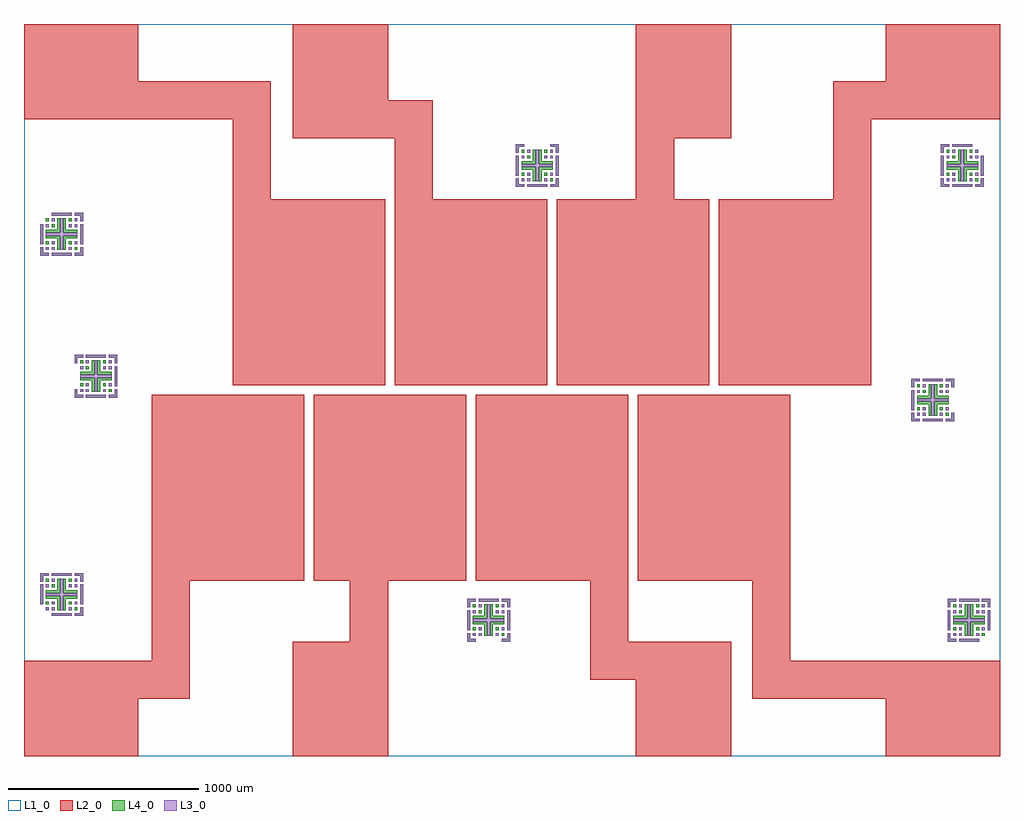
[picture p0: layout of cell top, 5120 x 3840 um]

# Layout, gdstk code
from math import pi, radians
import gdstk
lib = gdstk.Library(unit=1e-6, precision=5e-06)
def R(c, l, rs):  # rectangles x0, y0, x1, y1
    for r in rs: c.add(gdstk.rectangle(r[:2], r[2:], *l))
def P(c, l, *ps):  # polygons
    for p in ps: c.add(gdstk.Polygon(p, *l))
L1_0 = (1, 0)
L2_0 = (2, 0)
L3_0 = (3, 0)
L4_0 = (4, 0)

align1 = lib.new_cell('align1')

align1_1 = lib.new_cell('align1_1')
r = gdstk.Reference(align1, (-70,0), rotation=pi/2); r.repetition = gdstk.Repetition(1, 1, v1=(0,0), v2=(0,0)); align1_1.add(r)
r = gdstk.Reference(align1, (0,-70), rotation=pi); r.repetition = gdstk.Repetition(1, 1, v1=(0,0), v2=(0,0)); align1_1.add(r)
r = gdstk.Reference(align1, (70,0), rotation=3*pi/2); r.repetition = gdstk.Repetition(1, 1, v1=(0,0), v2=(0,0)); align1_1.add(r)
r = gdstk.Reference(align1, (0,70)); r.repetition = gdstk.Repetition(1, 1, v1=(0,0), v2=(0,0)); align1_1.add(r)

align2 = lib.new_cell('align2')

align3 = lib.new_cell('align3')
r = gdstk.Reference(align1_1, (0,0), rotation=3*pi/2); r.repetition = gdstk.Repetition(1, 1, v1=(0,0), v2=(0,0)); align3.add(r)
r = gdstk.Reference(align2, (0,70)); r.repetition = gdstk.Repetition(1, 1, v1=(0,0), v2=(0,0)); align3.add(r)
r = gdstk.Reference(align2, (-70,0), rotation=pi/2); r.repetition = gdstk.Repetition(1, 1, v1=(0,0), v2=(0,0)); align3.add(r)
r = gdstk.Reference(align2, (0,-70), rotation=pi); r.repetition = gdstk.Repetition(1, 1, v1=(0,0), v2=(0,0)); align3.add(r)
r = gdstk.Reference(align2, (70,0), rotation=3*pi/2); r.repetition = gdstk.Repetition(1, 1, v1=(0,0), v2=(0,0)); align3.add(r)

landing_pad = lib.new_cell('landing_pad')

contact = lib.new_cell('contact')

alignment5nm = lib.new_cell('Alignment5nm')
R(alignment5nm, L3_0, [(-70,-50,35,-35), (-100,-20,-85,-5), (-70,-20,-55,-5), (20,-20,35,-5), (-130,10,-115,115), (-70,10,-55,25), (50,10,65,25), (80,10,95,115), (-100,100,-85,115), (20,100,35,115), (50,100,65,115), (-70,130,-55,145), (50,130,65,145), (-70,160,35,175)])
P(alignment5nm, L3_0, [(50,-50),(50,-35),(80,-35),(80,-5),(95,-5),(95,-50)],
  [(80,130),(80,160),(50,160),(50,175),(95,175),(95,130)],
  [(-130,130),(-130,175),(-85,175),(-85,160),(-115,160),(-115,130)],
  [(-25,-20),(-25,55),(-100,55),(-100,70),(-25,70),(-25,145),(-10,145),(-10,70),(65,70),(65,55),(-10,55),(-10,-20)])
R(alignment5nm, L4_0, [(-70,-50,35,-35), (-100,-20,-85,-5), (50,-20,65,-5), (-130,10,-115,115), (-100,10,-85,25), (-70,10,-55,25), (20,10,35,25), (80,10,95,115), (-70,100,-55,115), (20,100,35,115), (-100,130,-85,145), (20,130,35,145), (50,130,65,145), (-70,160,35,175)])
P(alignment5nm, L4_0, [(50,-50),(50,-35),(80,-35),(80,-5),(95,-5),(95,-50)],
  [(80,130),(80,160),(50,160),(50,175),(95,175),(95,130)],
  [(-130,130),(-130,175),(-85,175),(-85,160),(-115,160),(-115,130)],
  [(-40,-20),(-40,40),(-100,40),(-100,55),(-25,55),(-25,-20)],
  [(-10,-20),(-10,55),(65,55),(65,40),(5,40),(5,-20)],
  [(-100,70),(-100,85),(-40,85),(-40,145),(-25,145),(-25,70)],
  [(-10,70),(-10,145),(5,145),(5,85),(65,85),(65,70)])

top = lib.new_cell('top')
R(top, L1_0, [(0,0,5120,3840)])
P(top, L2_0, [(0,0),(0,500),(670,500),(670,1895),(1470,1895),(1470,920),(870,920),(870,300),(600,300),(600,0)],
  [(1095,1945),(1095,3340),(0,3340),(0,3840),(600,3840),(600,3540),(1295,3540),(1295,2920),(1895,2920),(1895,1945)],
  [(1410,0),(1410,600),(1710,600),(1710,920),(1520,920),(1520,1895),(2320,1895),(2320,920),(1910,920),(1910,0)],
  [(1945,1945),(1945,3240),(1410,3240),(1410,3840),(1910,3840),(1910,3440),(2145,3440),(2145,2920),(2745,2920),(2745,1945)],
  [(3210,0),(3210,400),(2970,400),(2970,920),(2370,920),(2370,1895),(3170,1895),(3170,600),(3710,600),(3710,0)],
  [(2795,1945),(2795,2920),(3210,2920),(3210,3840),(3710,3840),(3710,3240),(3410,3240),(3410,2920),(3595,2920),(3595,1945)],
  [(3645,1945),(3645,2920),(4245,2920),(4245,3540),(4520,3540),(4520,3840),(5120,3840),(5120,3340),(4445,3340),(4445,1945)],
  [(4520,0),(4520,300),(3820,300),(3820,920),(3220,920),(3220,1895),(4020,1895),(4020,500),(5120,500),(5120,0)])
R(top, L3_0, [(4905,600,5010,615), (2355,630,2370,645), (2385,630,2400,645), (2475,630,2490,645), (4875,630,4890,645), (4905,630,4920,645), (4995,630,5010,645), (2325,660,2340,765), (2385,660,2400,675), (2505,660,2520,675), (2535,660,2550,765), (4845,660,4860,765), (4905,660,4920,675), (5025,660,5040,675), (5055,660,5070,765), (2355,750,2370,765), (2475,750,2490,765), (2505,750,2520,765), (4875,750,4890,765), (4995,750,5010,765), (5025,750,5040,765), (2385,780,2400,795), (2505,780,2520,795), (4905,780,4920,795), (5025,780,5040,795), (2385,810,2490,825), (4905,810,5010,825), (4715,1755,4820,1770), (4685,1785,4700,1800), (4715,1785,4730,1800), (4805,1785,4820,1800), (4655,1815,4670,1920), (4715,1815,4730,1830), (4835,1815,4850,1830), (325,1880,430,1895), (4685,1905,4700,1920), (4805,1905,4820,1920), (4835,1905,4850,1920), (295,1910,310,1925), (325,1910,340,1925), (415,1910,430,1925), (4715,1935,4730,1950), (4835,1935,4850,1950), (325,1940,340,1955), (445,1940,460,1955), (475,1940,490,2045), (4715,1965,4820,1980), (295,2030,310,2045), (415,2030,430,2045), (445,2030,460,2045), (325,2060,340,2075), (445,2060,460,2075), (325,2090,430,2105), (145,2625,250,2640), (115,2655,130,2670), (145,2655,160,2670), (235,2655,250,2670), (85,2685,100,2790), (145,2685,160,2700), (265,2685,280,2700), (295,2685,310,2790), (115,2775,130,2790), (235,2775,250,2790), (265,2775,280,2790), (145,2805,160,2820), (265,2805,280,2820), (145,2835,250,2850), (2640,2985,2745,3000), (4870,2985,4975,3000), (2610,3015,2625,3030), (2640,3015,2655,3030), (2730,3015,2745,3030), (4840,3015,4855,3030), (4870,3015,4885,3030), (4960,3015,4975,3030), (2580,3045,2595,3150), (2640,3045,2655,3060), (2760,3045,2775,3060), (2790,3045,2805,3150), (4810,3045,4825,3150), (4870,3045,4885,3060), (4990,3045,5005,3060), (5020,3045,5035,3150), (2610,3135,2625,3150), (2730,3135,2745,3150), (2760,3135,2775,3150), (4840,3135,4855,3150), (4960,3135,4975,3150), (4990,3135,5005,3150), (2640,3165,2655,3180), (2760,3165,2775,3180), (4870,3165,4885,3180), (4990,3165,5005,3180), (4870,3195,4975,3210)])
P(top, L3_0, [(445,1880),(445,1895),(475,1895),(475,1925),(490,1925),(490,1880)],
  [(475,2060),(475,2090),(445,2090),(445,2105),(490,2105),(490,2060)],
  [(265,2060),(265,2105),(310,2105),(310,2090),(280,2090),(280,2060)],
  [(265,1880),(265,1925),(280,1925),(280,1895),(310,1895),(310,1880)],
  [(370,1910),(370,1985),(295,1985),(295,2000),(370,2000),(370,2075),(385,2075),(385,2000),(460,2000),(460,1985),(385,1985),(385,1910)],
  [(4835,1755),(4835,1770),(4865,1770),(4865,1800),(4880,1800),(4880,1755)],
  [(4865,1935),(4865,1965),(4835,1965),(4835,1980),(4880,1980),(4880,1935)],
  [(4655,1935),(4655,1980),(4700,1980),(4700,1965),(4670,1965),(4670,1935)],
  [(4655,1755),(4655,1800),(4670,1800),(4670,1770),(4700,1770),(4700,1755)],
  [(4760,1785),(4760,1860),(4685,1860),(4685,1875),(4760,1875),(4760,1950),(4775,1950),(4775,1875),(4850,1875),(4850,1860),(4775,1860),(4775,1785)],
  [(2760,2985),(2760,3000),(2790,3000),(2790,3030),(2805,3030),(2805,2985)],
  [(2790,3165),(2790,3195),(2760,3195),(2760,3210),(2805,3210),(2805,3165)],
  [(265,2625),(265,2640),(295,2640),(295,2670),(310,2670),(310,2625)],
  [(295,2805),(295,2835),(265,2835),(265,2850),(310,2850),(310,2805)],
  [(85,2625),(85,2670),(100,2670),(100,2640),(130,2640),(130,2625)],
  [(190,2655),(190,2730),(115,2730),(115,2745),(190,2745),(190,2820),(205,2820),(205,2745),(280,2745),(280,2730),(205,2730),(205,2655)],
  [(2580,3165),(2580,3210),(2625,3210),(2625,3195),(2595,3195),(2595,3165)],
  [(2580,2985),(2580,3030),(2595,3030),(2595,3000),(2625,3000),(2625,2985)],
  [(2685,3015),(2685,3090),(2610,3090),(2610,3105),(2685,3105),(2685,3180),(2700,3180),(2700,3105),(2775,3105),(2775,3090),(2700,3090),(2700,3015)],
  [(4990,2985),(4990,3000),(5020,3000),(5020,3030),(5035,3030),(5035,2985)],
  [(4810,3165),(4810,3210),(4855,3210),(4855,3195),(4825,3195),(4825,3165)],
  [(4810,2985),(4810,3030),(4825,3030),(4825,3000),(4855,3000),(4855,2985)],
  [(4915,3015),(4915,3090),(4840,3090),(4840,3105),(4915,3105),(4915,3180),(4930,3180),(4930,3105),(5005,3105),(5005,3090),(4930,3090),(4930,3015)],
  [(5055,780),(5055,810),(5025,810),(5025,825),(5070,825),(5070,780)],
  [(4845,780),(4845,825),(4890,825),(4890,810),(4860,810),(4860,780)],
  [(4845,600),(4845,645),(4860,645),(4860,615),(4890,615),(4890,600)],
  [(4950,630),(4950,705),(4875,705),(4875,720),(4950,720),(4950,795),(4965,795),(4965,720),(5040,720),(5040,705),(4965,705),(4965,630)],
  [(2505,600),(2505,615),(2535,615),(2535,645),(2550,645),(2550,600)],
  [(2535,780),(2535,810),(2505,810),(2505,825),(2550,825),(2550,780)],
  [(2325,780),(2325,825),(2370,825),(2370,810),(2340,810),(2340,780)],
  [(2325,600),(2325,645),(2340,645),(2340,615),(2370,615),(2370,600)],
  [(2430,630),(2430,705),(2355,705),(2355,720),(2430,720),(2430,795),(2445,795),(2445,720),(2520,720),(2520,705),(2445,705),(2445,630)])
R(top, L4_0, [(4905,600,5010,615), (2355,630,2370,645), (2505,630,2520,645), (4875,630,4890,645), (5025,630,5040,645), (2325,660,2340,765), (2355,660,2370,675), (2385,660,2400,675), (2475,660,2490,675), (2535,660,2550,765), (4845,660,4860,765), (4875,660,4890,675), (4905,660,4920,675), (4995,660,5010,675), (5055,660,5070,765), (2385,750,2400,765), (2475,750,2490,765), (4905,750,4920,765), (4995,750,5010,765), (2355,780,2370,795), (2475,780,2490,795), (2505,780,2520,795), (4875,780,4890,795), (4995,780,5010,795), (5025,780,5040,795), (2385,810,2490,825), (4905,810,5010,825), (4715,1755,4820,1770), (4685,1785,4700,1800), (4835,1785,4850,1800), (4655,1815,4670,1920), (4685,1815,4700,1830), (4715,1815,4730,1830), (4805,1815,4820,1830), (325,1880,430,1895), (4715,1905,4730,1920), (4805,1905,4820,1920), (295,1910,310,1925), (445,1910,460,1925), (4685,1935,4700,1950), (4805,1935,4820,1950), (4835,1935,4850,1950), (295,1940,310,1955), (325,1940,340,1955), (415,1940,430,1955), (475,1940,490,2045), (4715,1965,4820,1980), (325,2030,340,2045), (415,2030,430,2045), (295,2060,310,2075), (415,2060,430,2075), (445,2060,460,2075), (325,2090,430,2105), (145,2625,250,2640), (115,2655,130,2670), (265,2655,280,2670), (85,2685,100,2790), (115,2685,130,2700), (145,2685,160,2700), (235,2685,250,2700), (295,2685,310,2790), (145,2775,160,2790), (235,2775,250,2790), (115,2805,130,2820), (235,2805,250,2820), (265,2805,280,2820), (145,2835,250,2850), (2640,2985,2745,3000), (4870,2985,4975,3000), (2610,3015,2625,3030), (2760,3015,2775,3030), (4840,3015,4855,3030), (4990,3015,5005,3030), (2580,3045,2595,3150), (2610,3045,2625,3060), (2640,3045,2655,3060), (2730,3045,2745,3060), (2790,3045,2805,3150), (4810,3045,4825,3150), (4840,3045,4855,3060), (4870,3045,4885,3060), (4960,3045,4975,3060), (5020,3045,5035,3150), (2640,3135,2655,3150), (2730,3135,2745,3150), (4870,3135,4885,3150), (4960,3135,4975,3150), (2610,3165,2625,3180), (2730,3165,2745,3180), (2760,3165,2775,3180), (4840,3165,4855,3180), (4960,3165,4975,3180), (4990,3165,5005,3180), (4870,3195,4975,3210)])
P(top, L4_0, [(445,1880),(445,1895),(475,1895),(475,1925),(490,1925),(490,1880)],
  [(475,2060),(475,2090),(445,2090),(445,2105),(490,2105),(490,2060)],
  [(265,2060),(265,2105),(310,2105),(310,2090),(280,2090),(280,2060)],
  [(265,1880),(265,1925),(280,1925),(280,1895),(310,1895),(310,1880)],
  [(355,1910),(355,1970),(295,1970),(295,1985),(370,1985),(370,1910)],
  [(385,1910),(385,1985),(460,1985),(460,1970),(400,1970),(400,1910)],
  [(295,2000),(295,2015),(355,2015),(355,2075),(370,2075),(370,2000)],
  [(385,2000),(385,2075),(400,2075),(400,2015),(460,2015),(460,2000)],
  [(4835,1755),(4835,1770),(4865,1770),(4865,1800),(4880,1800),(4880,1755)],
  [(4865,1935),(4865,1965),(4835,1965),(4835,1980),(4880,1980),(4880,1935)],
  [(4655,1935),(4655,1980),(4700,1980),(4700,1965),(4670,1965),(4670,1935)],
  [(4655,1755),(4655,1800),(4670,1800),(4670,1770),(4700,1770),(4700,1755)],
  [(4745,1785),(4745,1845),(4685,1845),(4685,1860),(4760,1860),(4760,1785)],
  [(4775,1785),(4775,1860),(4850,1860),(4850,1845),(4790,1845),(4790,1785)],
  [(4685,1875),(4685,1890),(4745,1890),(4745,1950),(4760,1950),(4760,1875)],
  [(4775,1875),(4775,1950),(4790,1950),(4790,1890),(4850,1890),(4850,1875)],
  [(2760,2985),(2760,3000),(2790,3000),(2790,3030),(2805,3030),(2805,2985)],
  [(2790,3165),(2790,3195),(2760,3195),(2760,3210),(2805,3210),(2805,3165)],
  [(2580,3165),(2580,3210),(2625,3210),(2625,3195),(2595,3195),(2595,3165)],
  [(2580,2985),(2580,3030),(2595,3030),(2595,3000),(2625,3000),(2625,2985)],
  [(2670,3015),(2670,3075),(2610,3075),(2610,3090),(2685,3090),(2685,3015)],
  [(2700,3015),(2700,3090),(2775,3090),(2775,3075),(2715,3075),(2715,3015)],
  [(2610,3105),(2610,3120),(2670,3120),(2670,3180),(2685,3180),(2685,3105)],
  [(2700,3105),(2700,3180),(2715,3180),(2715,3120),(2775,3120),(2775,3105)],
  [(4990,2985),(4990,3000),(5020,3000),(5020,3030),(5035,3030),(5035,2985)],
  [(4810,3165),(4810,3210),(4855,3210),(4855,3195),(4825,3195),(4825,3165)],
  [(4810,2985),(4810,3030),(4825,3030),(4825,3000),(4855,3000),(4855,2985)],
  [(4900,3015),(4900,3075),(4840,3075),(4840,3090),(4915,3090),(4915,3015)],
  [(4930,3015),(4930,3090),(5005,3090),(5005,3075),(4945,3075),(4945,3015)],
  [(4840,3105),(4840,3120),(4900,3120),(4900,3180),(4915,3180),(4915,3105)],
  [(4930,3105),(4930,3180),(4945,3180),(4945,3120),(5005,3120),(5005,3105)],
  [(265,2625),(265,2640),(295,2640),(295,2670),(310,2670),(310,2625)],
  [(295,2805),(295,2835),(265,2835),(265,2850),(310,2850),(310,2805)],
  [(85,2625),(85,2670),(100,2670),(100,2640),(130,2640),(130,2625)],
  [(175,2655),(175,2715),(115,2715),(115,2730),(190,2730),(190,2655)],
  [(205,2655),(205,2730),(280,2730),(280,2715),(220,2715),(220,2655)],
  [(115,2745),(115,2760),(175,2760),(175,2820),(190,2820),(190,2745)],
  [(205,2745),(205,2820),(220,2820),(220,2760),(280,2760),(280,2745)],
  [(5055,780),(5055,810),(5025,810),(5025,825),(5070,825),(5070,780)],
  [(4845,780),(4845,825),(4890,825),(4890,810),(4860,810),(4860,780)],
  [(4845,600),(4845,645),(4860,645),(4860,615),(4890,615),(4890,600)],
  [(4935,630),(4935,690),(4875,690),(4875,705),(4950,705),(4950,630)],
  [(4965,630),(4965,705),(5040,705),(5040,690),(4980,690),(4980,630)],
  [(4875,720),(4875,735),(4935,735),(4935,795),(4950,795),(4950,720)],
  [(4965,720),(4965,795),(4980,795),(4980,735),(5040,735),(5040,720)],
  [(2505,600),(2505,615),(2535,615),(2535,645),(2550,645),(2550,600)],
  [(2535,780),(2535,810),(2505,810),(2505,825),(2550,825),(2550,780)],
  [(2325,780),(2325,825),(2370,825),(2370,810),(2340,810),(2340,780)],
  [(2325,600),(2325,645),(2340,645),(2340,615),(2370,615),(2370,600)],
  [(2415,630),(2415,690),(2355,690),(2355,705),(2430,705),(2430,630)],
  [(2445,630),(2445,705),(2520,705),(2520,690),(2460,690),(2460,630)],
  [(2355,720),(2355,735),(2415,735),(2415,795),(2430,795),(2430,720)],
  [(2445,720),(2445,795),(2460,795),(2460,735),(2520,735),(2520,720)])
r = gdstk.Reference(align3, (4945,3710)); r.repetition = gdstk.Repetition(1, 1, v1=(0,0), v2=(0,0)); top.add(r)
r = gdstk.Reference(align3, (4965,765)); r.repetition = gdstk.Repetition(1, 1, v1=(0,0), v2=(0,0)); top.add(r)
r = gdstk.Reference(align3, (150,3625)); r.repetition = gdstk.Repetition(1, 1, v1=(0,0), v2=(0,0)); top.add(r)
r = gdstk.Reference(align3, (130,600)); r.repetition = gdstk.Repetition(1, 1, v1=(0,0), v2=(0,0)); top.add(r)
r = gdstk.Reference(align3, (2280,375)); r.repetition = gdstk.Repetition(1, 1, v1=(0,0), v2=(0,0)); top.add(r)
r = gdstk.Reference(align3, (2670,3025)); r.repetition = gdstk.Repetition(1, 1, v1=(0,0), v2=(0,0)); top.add(r)
r = gdstk.Reference(landing_pad, (500,3335)); r.repetition = gdstk.Repetition(1, 1, v1=(0,0), v2=(0,0)); top.add(r)
r = gdstk.Reference(landing_pad, (1670,3335)); r.repetition = gdstk.Repetition(1, 1, v1=(0,0), v2=(0,0)); top.add(r)
r = gdstk.Reference(landing_pad, (3355,3335)); r.repetition = gdstk.Repetition(1, 1, v1=(0,0), v2=(0,0)); top.add(r)
r = gdstk.Reference(landing_pad, (530,530)); r.repetition = gdstk.Repetition(1, 1, v1=(0,0), v2=(0,0)); top.add(r)
r = gdstk.Reference(landing_pad, (4500,530)); r.repetition = gdstk.Repetition(1, 1, v1=(0,0), v2=(0,0)); top.add(r)
r = gdstk.Reference(landing_pad, (1670,535)); r.repetition = gdstk.Repetition(1, 1, v1=(0,0), v2=(0,0)); top.add(r)
r = gdstk.Reference(landing_pad, (3365,520)); r.repetition = gdstk.Repetition(1, 1, v1=(0,0), v2=(0,0)); top.add(r)
r = gdstk.Reference(landing_pad, (4505,3310)); r.repetition = gdstk.Repetition(1, 1, v1=(0,0), v2=(0,0)); top.add(r)
top.add(gdstk.Reference(contact, (340,305)))
top.add(gdstk.Reference(contact, (1785,350)))
top.add(gdstk.Reference(contact, (3265,295)))
top.add(gdstk.Reference(contact, (4870,305)))
top.add(gdstk.Reference(contact, (4870,3520)))
top.add(gdstk.Reference(contact, (3230,3465)))
top.add(gdstk.Reference(contact, (1655,3510)))
top.add(gdstk.Reference(contact, (480,3500)))
top.add(gdstk.Reference(alignment5nm, (215,785)))

lib.write_gds('top.gds')
